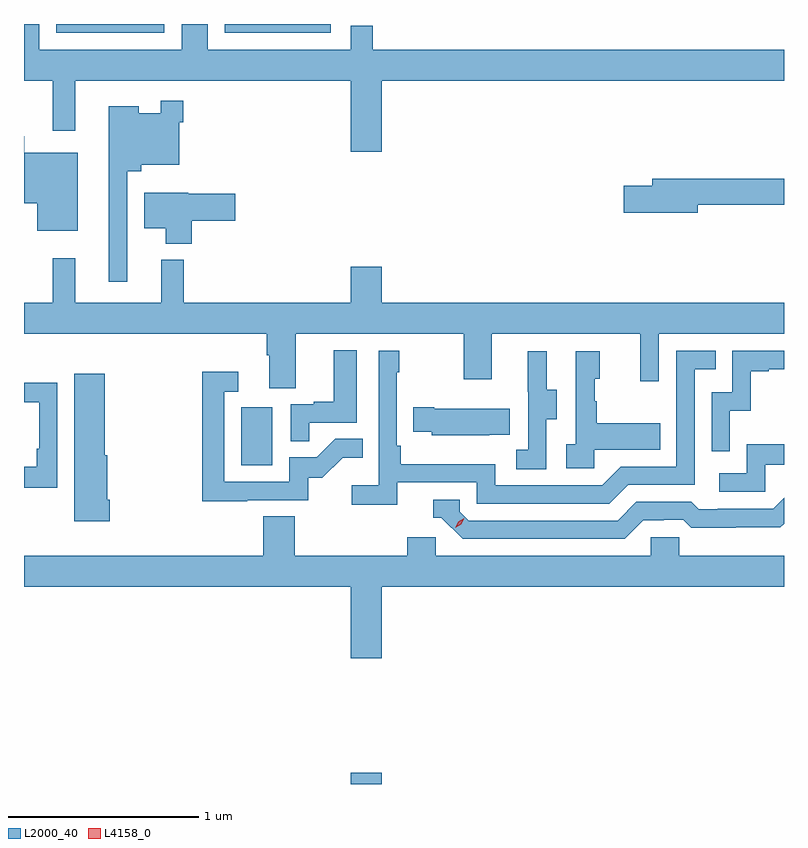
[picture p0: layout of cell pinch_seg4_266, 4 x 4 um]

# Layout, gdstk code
import gdstk
lib = gdstk.Library(unit=1e-6, precision=1e-09)
def R(c, l, rs):  # rectangles x0, y0, x1, y1
    for r in rs: c.add(gdstk.rectangle(r[:2], r[2:], *l))
def P(c, l, *ps):  # polygons
    for p in ps: c.add(gdstk.Polygon(p, *l))
L2000_40 = (2000, 40)
L4158_0 = (4158, 0)

pinch_seg4_266 = lib.new_cell('pinch_seg4_266')
R(pinch_seg4_266, L2000_40, [(944.228,814.431,944.392,814.489), (943.652,816.108,943.816,816.415), (942.678,818.385,943.248,818.431), (943.566,818.385,944.124,818.431)])
P(pinch_seg4_266, L2000_40, [(944.392,818.132),(946.509,818.132),(946.509,818.296),(944.345,818.296),(944.345,818.423),(944.229,818.423),(944.229,818.296),(943.477,818.296),(943.477,818.431),(943.338,818.431),(943.338,818.296),(942.588,818.296),(942.588,818.431),(942.509,818.431),(942.509,818.132),(942.661,818.132),(942.661,817.869),(942.778,817.869),(942.778,818.132),(944.228,818.132),(944.228,817.758),(944.392,817.758)],
  [(943.053,817.655),(943.127,817.655),(943.127,817.691),(943.326,817.691),(943.326,817.913),(943.346,817.913),(943.346,818.026),(943.23,818.026),(943.23,817.96),(943.114,817.96),(943.114,817.999),(942.956,817.999),(942.956,817.074),(943.053,817.074)],
  [(942.793,817.753),(942.51,817.753),(942.51,817.84),(942.509,817.84),(942.509,817.487),(942.578,817.487),(942.578,817.343),(942.793,817.343)],
  [(946.054,817.48),(946.509,817.48),(946.509,817.616),(945.815,817.616),(945.815,817.58),(945.666,817.58),(945.666,817.438),(946.054,817.438)],
  [(943.391,817.396),(943.621,817.396),(943.621,817.538),(943.374,817.538),(943.374,817.543),(943.142,817.543),(943.142,817.355),(943.256,817.355),(943.256,817.274),(943.391,817.274)],
  [(943.939,816.8),(944.824,816.8),(944.824,816.561),(944.971,816.561),(944.971,816.8),(945.752,816.8),(945.752,816.552),(945.849,816.552),(945.849,816.8),(946.509,816.8),(946.509,816.964),(944.392,816.964),(944.392,817.153),(944.228,817.153),(944.228,816.964),(943.349,816.964),(943.349,817.189),(943.232,817.189),(943.232,816.964),(942.779,816.964),(942.779,817.198),(942.661,817.198),(942.661,816.964),(942.509,816.964),(942.509,816.8),(943.787,816.8),(943.787,816.688),(943.799,816.688),(943.799,816.514),(943.939,816.514)],
  [(944.009,816.333),(944.26,816.333),(944.26,816.715),(944.138,816.715),(944.138,816.442),(944.035,816.442),(944.035,816.429),(943.914,816.429),(943.914,816.235),(944.009,816.235)],
  [(944.474,816.018),(944.892,816.018),(944.892,815.907),(945.589,815.907),(945.688,816.006),(946.038,816.006),(946.038,816.615),(946.151,816.615),(946.151,816.711),(945.942,816.711),(945.942,816.102),(945.651,816.102),(945.552,816.003),(944.988,816.003),(944.988,816.115),(944.492,816.115),(944.492,816.211),(944.472,816.211),(944.472,816.599),(944.485,816.599),(944.485,816.712),(944.376,816.712),(944.376,816.004),(944.235,816.004),(944.235,815.902),(944.474,815.902)],
  [(946.224,816.395),(946.334,816.395),(946.334,816.603),(946.429,816.603),(946.429,816.615),(946.509,816.615),(946.509,816.711),(946.236,816.711),(946.236,816.492),(946.128,816.492),(946.128,816.183),(946.224,816.183)],
  [(945.51,816.191),(945.857,816.191),(945.857,816.331),(945.523,816.331),(945.523,816.446),(945.513,816.446),(945.513,816.564),(945.538,816.564),(945.538,816.709),(945.414,816.709),(945.414,816.218),(945.363,816.218),(945.363,816.093),(945.51,816.093)],
  [(945.258,816.352),(945.313,816.352),(945.313,816.507),(945.259,816.507),(945.259,816.709),(945.161,816.709),(945.161,816.495),(945.162,816.495),(945.162,816.191),(945.099,816.191),(945.099,816.088),(945.258,816.088)],
  [(943.685,815.925),(944.004,815.925),(944.004,816.042),(944.08,816.042),(944.187,816.149),(944.291,816.149),(944.291,816.248),(944.148,816.248),(944.05,816.15),(943.905,816.15),(943.905,816.021),(943.563,816.021),(943.563,816.495),(943.636,816.495),(943.636,816.601),(943.447,816.601),(943.447,815.92),(943.685,815.92)],
  [(942.959,815.926),(942.946,815.926),(942.946,816.162),(942.934,816.162),(942.934,816.589),(942.773,816.589),(942.773,815.814),(942.959,815.814)],
  [(942.684,816.542),(942.509,816.542),(942.509,816.441),(942.588,816.441),(942.588,816.196),(942.575,816.196),(942.575,816.1),(942.509,816.1),(942.509,815.991),(942.684,815.991)],
  [(944.957,816.269),(945.065,816.269),(945.065,816.406),(944.668,816.406),(944.668,816.414),(944.557,816.414),(944.557,816.284),(944.655,816.284),(944.655,816.266),(944.957,816.266)],
  [(946.41,816.111),(946.509,816.111),(946.509,816.22),(946.314,816.22),(946.314,816.066),(946.167,816.066),(946.167,815.97),(946.41,815.97)],
  [(945.769,815.82),(945.876,815.82),(945.876,815.823),(945.979,815.823),(946.021,815.781),(946.254,815.781),(946.254,815.783),(946.49,815.783),(946.509,815.802),(946.509,815.937),(946.452,815.88),(946.159,815.88),(946.159,815.877),(946.06,815.877),(946.021,815.916),(945.732,815.916),(945.633,815.817),(944.85,815.817),(944.802,815.865),(944.802,815.928),(944.663,815.928),(944.663,815.832),(944.706,815.832),(944.817,815.721),(945.67,815.721)],
  [(944.392,815.468),(946.509,815.468),(946.509,815.632),(945.957,815.632),(945.957,815.73),(945.807,815.73),(945.807,815.632),(944.676,815.632),(944.676,815.73),(944.525,815.73),(944.525,815.632),(943.934,815.632),(943.934,815.84),(943.769,815.84),(943.769,815.632),(942.509,815.632),(942.509,815.468),(944.228,815.468),(944.228,815.094),(944.392,815.094)])
P(pinch_seg4_266, L4158_0, [(944.779,815.779),(944.779,815.779),(944.795,815.811),(944.826,815.831),(944.827,815.831),(944.827,815.83),(944.81,815.798),(944.779,815.779)])

lib.write_gds('pinch_seg4_266.gds')
